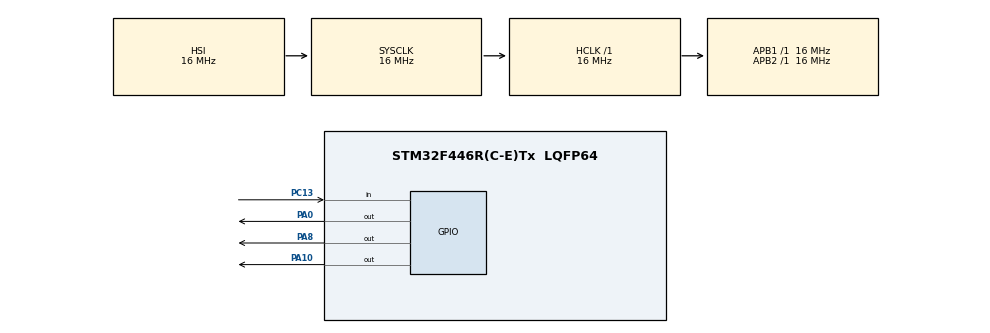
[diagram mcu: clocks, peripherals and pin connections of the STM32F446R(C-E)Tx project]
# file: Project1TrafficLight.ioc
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Mcu.Family=STM32F4
Mcu.Name=STM32F446R(C-E)Tx
Mcu.Package=LQFP64
NVIC.PriorityGroup=NVIC_PRIORITYGROUP_4
PA0-WKUP.Signal=GPIO_Output
PA10.Signal=GPIO_Output
PA8.Signal=GPIO_Output
PC13.Signal=GPIO_Input
PC14-OSC32_IN.Mode=LSE-External-Oscillator
PC14-OSC32_IN.Signal=RCC_OSC32_IN
PC15-OSC32_OUT.Mode=LSE-External-Oscillator
PC15-OSC32_OUT.Signal=RCC_OSC32_OUT
PH0-OSC_IN.Mode=HSE-External-Clock-Source
PH0-OSC_IN.Signal=RCC_OSC_IN
PH1-OSC_OUT.Mode=HSE-External-Clock-Source
PH1-OSC_OUT.Signal=RCC_OSC_OUT
ProjectManager.HeapSize=0x200
ProjectManager.StackSize=0x400
ProjectManager.TargetToolchain=STM32CubeIDE
RCC.AHBFreq_Value=16000000
RCC.APB1Freq_Value=16000000
RCC.APB1TimFreq_Value=16000000
RCC.APB2Freq_Value=16000000
RCC.APB2TimFreq_Value=16000000
RCC.CortexFreq_Value=16000000
RCC.HCLKFreq_Value=16000000
RCC.SYSCLKFreq_VALUE=16000000
RCC.USBFreq_Value=96000000
RCC.VCOOutputFreq_Value=192000000
board=custom

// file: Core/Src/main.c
/* USER CODE BEGIN Header */
/**
  ******************************************************************************
  * @file           : main.c
  * @brief          : Main program body
  ******************************************************************************
  * @attention
  *
  * Copyright (c) 2026 STMicroelectronics.
  * All rights reserved.
  *
  * This software is licensed under terms that can be found in the LICENSE file
  * in the root directory of this software component.
  * If no LICENSE file comes with this software, it is provided AS-IS.
  *
  ******************************************************************************
  */
/* USER CODE END Header */
#include "main.h"

/* USER CODE BEGIN PTD */
	typedef enum
	{
		TRAFFIC_GREEN,
		TRAFFIC_YELLOW,
		TRAFFIC_RED

	} TrafficState;
/* USER CODE END PTD */

/* USER CODE BEGIN PD */
	TrafficState currentState;
	uint32_t stateStartTime;
	uint8_t pedestrianRequest = 0;
	GPIO_PinState previousButtonState = GPIO_PIN_RESET;
/* USER CODE END PD */

void SystemClock_Config(void);
static void MX_GPIO_Init(void);

int main(void)
{

  /* MCU Configuration--------------------------------------------------------*/

  /* Reset of all peripherals, Initializes the Flash interface and the Systick. */
  HAL_Init();

  /* Configure the system clock */
  SystemClock_Config();

  /* Initialize all configured peripherals */
  MX_GPIO_Init();
  /* USER CODE BEGIN 2 */
  void lightInit(){
      HAL_GPIO_WritePin(GPIOA,GPIO_PIN_0 | GPIO_PIN_8 | GPIO_PIN_10, GPIO_PIN_RESET);
      HAL_GPIO_WritePin(GPIOA, GPIO_PIN_8, GPIO_PIN_SET);
      currentState = TRAFFIC_RED;
      stateStartTime = HAL_GetTick();
      pedestrianRequest = 0;
      previousButtonState = HAL_GPIO_ReadPin(GPIOC, GPIO_PIN_13);
  }

  void lightLoop(){
      uint32_t elapsedTime = HAL_GetTick() - stateStartTime;
      switch (currentState){
          case TRAFFIC_RED:
              if (pedestrianRequest){
            	  if(elapsedTime >= 10000){
            		  pedestrianRequest = 0;
            		  HAL_GPIO_WritePin(GPIOA, GPIO_PIN_8, GPIO_PIN_RESET);
            		  HAL_GPIO_WritePin(GPIOA, GPIO_PIN_10, GPIO_PIN_SET);

            		  currentState = TRAFFIC_GREEN;
            		  stateStartTime = HAL_GetTick();
            	  }
              }
              else if (elapsedTime >= 5000){
            	  HAL_GPIO_WritePin(GPIOA, GPIO_PIN_8, GPIO_PIN_RESET);
            	  HAL_GPIO_WritePin(GPIOA, GPIO_PIN_10, GPIO_PIN_SET);

            	  currentState = TRAFFIC_GREEN;
            	  stateStartTime = HAL_GetTick();
              }
              break;

          case TRAFFIC_GREEN:
              /*
               * Change to yellow after the normal green time,
               * or when a stored pedestrian request should be serviced.
               */
              if (elapsedTime >= 6000 || pedestrianRequest){
                  HAL_GPIO_WritePin(GPIOA, GPIO_PIN_10, GPIO_PIN_RESET);
                  HAL_GPIO_WritePin(GPIOA, GPIO_PIN_0, GPIO_PIN_SET);

                  currentState = TRAFFIC_YELLOW;
                  stateStartTime = HAL_GetTick();
              }
              break;
          case TRAFFIC_YELLOW:
              if (elapsedTime >= 4000){
                  HAL_GPIO_WritePin(GPIOA, GPIO_PIN_0, GPIO_PIN_RESET);
                  HAL_GPIO_WritePin(GPIOA, GPIO_PIN_8, GPIO_PIN_SET);

                  currentState = TRAFFIC_RED;
                  stateStartTime = HAL_GetTick();
                  pedestrianRequest = 0;
              }
              break;
          default:
              currentState = TRAFFIC_RED;
              stateStartTime = HAL_GetTick();
              break;
      }
  }

  void handlePedestrian(){
	  GPIO_PinState currentButtonState = HAL_GPIO_ReadPin(GPIOC, GPIO_PIN_13);
	  if(currentButtonState == GPIO_PIN_SET && previousButtonState == GPIO_PIN_RESET){
		  pedestrianRequest = 1;
	  }

	  previousButtonState = currentButtonState;
  }

  /* USER CODE END 2 */

  /* Infinite loop */
  /* USER CODE BEGIN WHILE */
  lightInit();
  while (1)
  {

    /* USER CODE END WHILE */

    /* USER CODE BEGIN 3 */
	  handlePedestrian();
	  lightLoop();

  }
  /* USER CODE END 3 */
}

void SystemClock_Config(void)
{
  RCC_OscInitTypeDef RCC_OscInitStruct = {0};
  RCC_ClkInitTypeDef RCC_ClkInitStruct = {0};

  /** Configure the main internal regulator output voltage
  */
  __HAL_RCC_PWR_CLK_ENABLE();
  __HAL_PWR_VOLTAGESCALING_CONFIG(PWR_REGULATOR_VOLTAGE_SCALE3);

  /** Initializes the RCC Oscillators according to the specified parameters
  * in the RCC_OscInitTypeDef structure.
  */
  RCC_OscInitStruct.OscillatorType = RCC_OSCILLATORTYPE_HSI;
  RCC_OscInitStruct.HSIState = RCC_HSI_ON;
  RCC_OscInitStruct.HSICalibrationValue = RCC_HSICALIBRATION_DEFAULT;
  RCC_OscInitStruct.PLL.PLLState = RCC_PLL_NONE;
  if (HAL_RCC_OscConfig(&RCC_OscInitStruct) != HAL_OK)
  {
    Error_Handler();
  }

  /** Initializes the CPU, AHB and APB buses clocks
  */
  RCC_ClkInitStruct.ClockType = RCC_CLOCKTYPE_HCLK|RCC_CLOCKTYPE_SYSCLK
                              |RCC_CLOCKTYPE_PCLK1|RCC_CLOCKTYPE_PCLK2;
  RCC_ClkInitStruct.SYSCLKSource = RCC_SYSCLKSOURCE_HSI;
  RCC_ClkInitStruct.AHBCLKDivider = RCC_SYSCLK_DIV1;
  RCC_ClkInitStruct.APB1CLKDivider = RCC_HCLK_DIV1;
  RCC_ClkInitStruct.APB2CLKDivider = RCC_HCLK_DIV1;

  if (HAL_RCC_ClockConfig(&RCC_ClkInitStruct, FLASH_LATENCY_0) != HAL_OK)
  {
    Error_Handler();
  }
}

static void MX_GPIO_Init(void)
{
  GPIO_InitTypeDef GPIO_InitStruct = {0};

  /* GPIO Ports Clock Enable */
  __HAL_RCC_GPIOC_CLK_ENABLE();
  __HAL_RCC_GPIOH_CLK_ENABLE();
  __HAL_RCC_GPIOA_CLK_ENABLE();

  /*Configure GPIO pin Output Level */
  HAL_GPIO_WritePin(GPIOA, GPIO_PIN_0|GPIO_PIN_8|GPIO_PIN_10, GPIO_PIN_RESET);

  /*Configure GPIO pin : PC13 */
  GPIO_InitStruct.Pin = GPIO_PIN_13;
  GPIO_InitStruct.Mode = GPIO_MODE_INPUT;
  GPIO_InitStruct.Pull = GPIO_NOPULL;
  HAL_GPIO_Init(GPIOC, &GPIO_InitStruct);

  /*Configure GPIO pins : PA0 PA8 PA10 */
  GPIO_InitStruct.Pin = GPIO_PIN_0|GPIO_PIN_8|GPIO_PIN_10;
  GPIO_InitStruct.Mode = GPIO_MODE_OUTPUT_PP;
  GPIO_InitStruct.Pull = GPIO_NOPULL;
  GPIO_InitStruct.Speed = GPIO_SPEED_FREQ_LOW;
  HAL_GPIO_Init(GPIOA, &GPIO_InitStruct);

}

void Error_Handler(void)
{
  __disable_irq();
  while (1)
  {
  }
}
